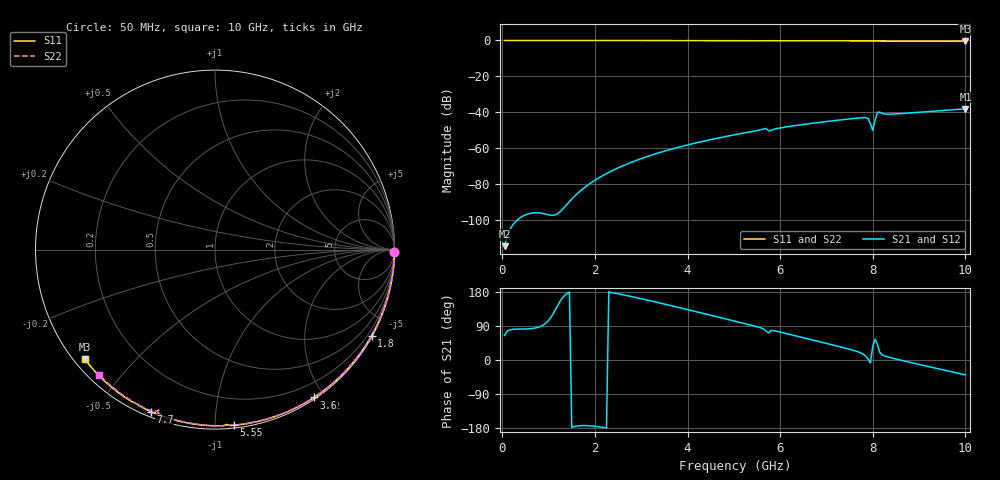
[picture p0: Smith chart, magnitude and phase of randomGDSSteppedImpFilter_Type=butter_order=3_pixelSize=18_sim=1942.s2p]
! freq	dB(S11)	phase(S11)	dB(S12)	phase(S12)
!  dB(S21)	phase(S21)	dB(S22)	phase(S22)
!S-par simulation data
#  GHz  S  DB  R 50
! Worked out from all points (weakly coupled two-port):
!   200 points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, 50 MHz to 10 GHz, reference 50 ohm
!   highest |S21| = -38.11 dB at 10 GHz (marker M1); lowest = -114.6 dB at 50 MHz (marker M2)
!   lowest |S11| = -0.5 dB at 10 GHz (marker M3), VSWR 36.94, Z = 1.53 - j18.2 ohm
!   |S11| at or under -10 dB: nowhere
!   |S22| runs from -0.5 to 0.0 dB; largest |S21 - S12| = 0
!   S11 on the Smith chart (normalised r, x): 50 MHz: open; 1.8 GHz: 0.03, -3.90; 3.6 GHz: 0.02, -1.87; 5.55 GHz: 0.02, -1.11; 7.7 GHz: 0.02, -0.68; 10 GHz: 0.03, -0.36
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0.05  -0.00 -0.8  -114.57 64.6  -114.57 64.6  -0.00 -0.8
0.9  -0.02 -14.5  -96.48 93.6  -96.48 93.6  -0.02 -13.8
1.75  -0.04 -28.0  -82.46 -173.0  -82.46 -173.0  -0.03 -26.5
1.8  -0.04 -28.8  -81.45 -173.1  -81.45 -173.1  -0.03 -27.3
1.9  -0.04 -30.4  -79.59 -173.7  -79.59 -173.7  -0.04 -28.8
2.25  -0.05 -35.8  -74.14 -179.4  -74.14 -179.4  -0.04 -33.9
2.65  -0.05 -41.9  -69.28 171.2  -69.28 171.2  -0.05 -39.8
3.4  -0.07 -53.2  -62.40 150.6  -62.40 150.6  -0.07 -50.5
3.6  -0.08 -56.2  -60.89 144.8  -60.89 144.8  -0.07 -53.3
5.05  -0.12 -76.9  -52.38 101.7  -52.38 101.7  -0.11 -73.1
5.55  -0.14 -83.8  -49.94 86.0  -49.94 86.0  -0.13 -79.6
5.7  -0.19 -86.0  -48.97 75.5  -48.97 75.5  -0.14 -81.5
5.75  -0.22 -86.3  -50.31 71.6  -50.31 71.6  -0.14 -82.2
6.05  -0.16 -90.4  -48.49 72.2  -48.49 72.2  -0.15 -86.0
6.7  -0.19 -98.9  -46.10 52.9  -46.10 52.9  -0.18 -94.1
7.7  -0.26 -111.7  -43.17 20.7  -43.17 20.7  -0.25 -106.5
7.9  -0.27 -114.2  -43.49 2.2  -43.49 2.2  -0.35 -109.4
8  -0.28 -115.5  -50.09 36.6  -50.09 36.6  -0.47 -109.3
8.05  -0.30 -116.2  -44.32 54.6  -44.32 54.6  -0.39 -109.7
8.1  -0.33 -116.7  -40.08 41.0  -40.08 41.0  -0.36 -110.3
8.35  -0.31 -119.7  -41.07 7.2  -41.07 7.2  -0.30 -113.5
10  -0.47 -139.9  -38.11 -39.1  -38.11 -39.1  -0.45 -132.7
